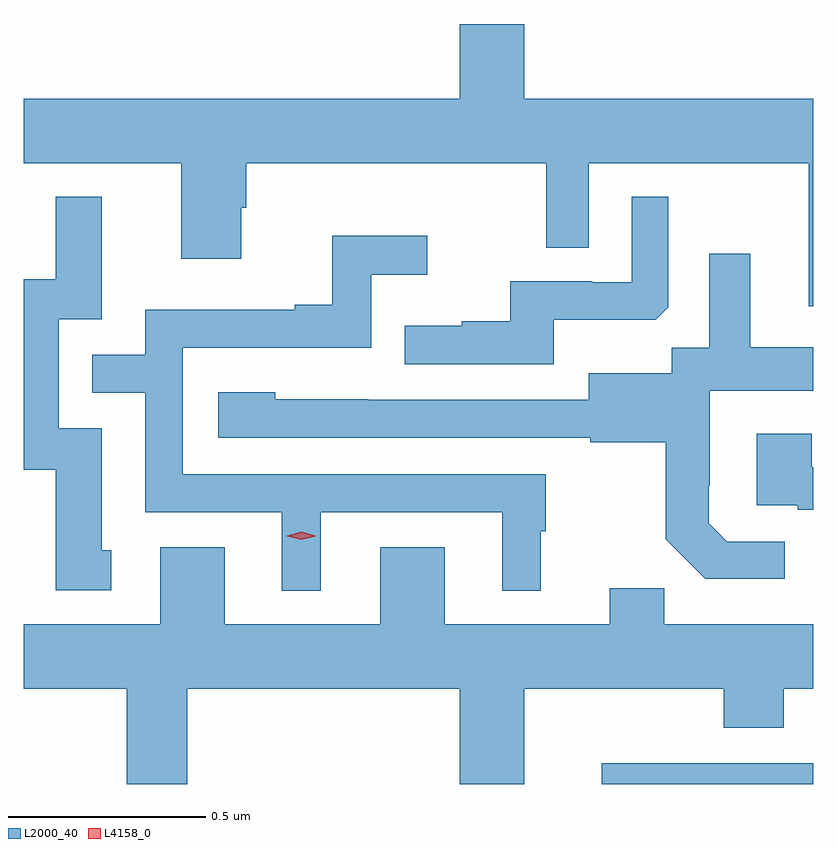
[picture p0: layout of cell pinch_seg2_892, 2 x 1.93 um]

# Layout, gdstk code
import gdstk
lib = gdstk.Library(unit=1e-6, precision=1e-09)
def R(c, l, rs):  # rectangles x0, y0, x1, y1
    for r in rs: c.add(gdstk.rectangle(r[:2], r[2:], *l))
def P(c, l, *ps):  # polygons
    for p in ps: c.add(gdstk.Polygon(p, *l))
L2000_40 = (2000, 40)
L4158_0 = (4158, 0)

pinch_seg2_892 = lib.new_cell('pinch_seg2_892')
R(pinch_seg2_892, L2000_40, [(608.925,610.099,609.46,610.152)])
P(pinch_seg2_892, L2000_40, [(609.46,611.836),(608.728,611.836),(608.728,612.025),(608.564,612.025),(608.564,611.836),(607.46,611.836),(607.46,611.672),(607.859,611.672),(607.859,611.43),(608.011,611.43),(608.011,611.559),(608.024,611.559),(608.024,611.672),(608.784,611.672),(608.784,611.458),(608.892,611.458),(608.892,611.672),(609.449,611.672),(609.449,611.31),(609.46,611.31)],
  [(607.681,610.692),(607.657,610.692),(607.657,611.001),(607.548,611.001),(607.548,611.277),(607.657,611.277),(607.657,611.587),(607.541,611.587),(607.541,611.378),(607.46,611.378),(607.46,610.896),(607.541,610.896),(607.541,610.59),(607.681,610.59)],
  [(608.803,611.276),(609.061,611.276),(609.093,611.307),(609.093,611.587),(609,611.587),(609,611.37),(608.9,611.37),(608.9,611.373),(608.693,611.373),(608.693,611.272),(608.569,611.272),(608.569,611.26),(608.425,611.26),(608.425,611.163),(608.803,611.163)],
  [(608.212,610.788),(608.672,610.788),(608.672,610.589),(608.77,610.589),(608.77,610.74),(608.782,610.74),(608.782,610.884),(607.863,610.884),(607.863,611.205),(608.34,611.205),(608.34,611.39),(608.482,611.39),(608.482,611.489),(608.242,611.489),(608.242,611.314),(608.147,611.314),(608.147,611.301),(607.767,611.301),(607.767,611.187),(607.633,611.187),(607.633,611.091),(607.767,611.091),(607.767,610.788),(608.114,610.788),(608.114,610.589),(608.212,610.589)],
  [(609.388,610.713),(609.243,610.713),(609.196,610.76),(609.196,610.855),(609.198,610.855),(609.198,611.096),(609.46,611.096),(609.46,611.206),(609.301,611.206),(609.301,611.443),(609.197,611.443),(609.197,611.204),(609.102,611.204),(609.102,611.14),(608.891,611.14),(608.891,611.073),(608.333,611.073),(608.333,611.074),(608.097,611.074),(608.097,611.092),(607.953,611.092),(607.953,610.977),(608.895,610.977),(608.895,610.965),(609.087,610.965),(609.087,610.719),(609.187,610.619),(609.388,610.619)],
  [(609.46,610.902),(609.457,610.902),(609.457,610.987),(609.317,610.987),(609.317,610.806),(609.421,610.806),(609.421,610.794),(609.46,610.794)],
  [(607.874,610.34),(608.564,610.34),(608.564,610.099),(608.728,610.099),(608.728,610.34),(609.233,610.34),(609.233,610.241),(609.385,610.241),(609.385,610.34),(609.46,610.34),(609.46,610.504),(609.083,610.504),(609.083,610.595),(608.945,610.595),(608.945,610.504),(608.527,610.504),(608.527,610.699),(608.363,610.699),(608.363,610.504),(607.969,610.504),(607.969,610.699),(607.805,610.699),(607.805,610.504),(607.46,610.504),(607.46,610.34),(607.721,610.34),(607.721,610.099),(607.874,610.099)])
P(pinch_seg2_892, L4158_0, [(608.163,610.718),(608.127,610.727),(608.127,610.728),(608.127,610.728),(608.163,610.738),(608.199,610.728),(608.199,610.728),(608.199,610.727)])

lib.write_gds('pinch_seg2_892.gds')
